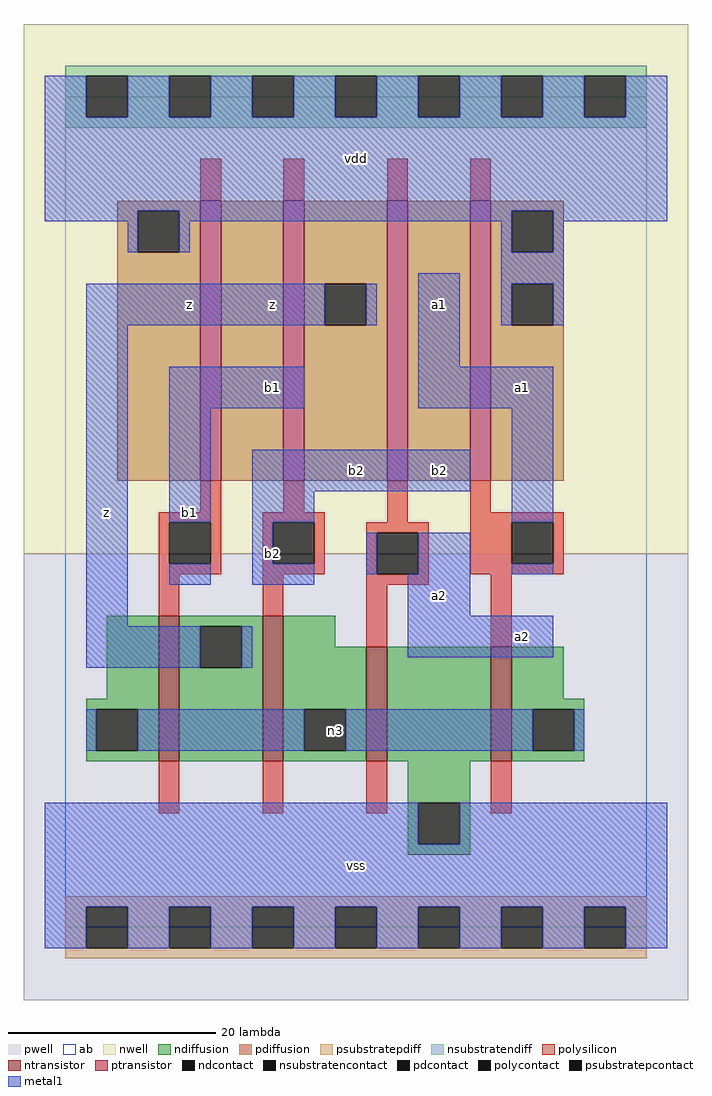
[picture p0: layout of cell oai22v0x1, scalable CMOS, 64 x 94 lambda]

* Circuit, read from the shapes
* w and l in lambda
.subckt oai22v0x1 a1 a2 b1 b2 n3 vdd vss z
M1 z b1 n3 vss nfet w=14 l=2
M2 n3 b2 z vss nfet w=14 l=2
M3 vss a2 n3 vss nfet w=11 l=2
M4 n3 a1 vss vss nfet w=11 l=2
M5 n1 b1 vdd vdd pfet w=27 l=2
M6 z b2 n1 vdd pfet w=27 l=2
M7 n2 a2 z vdd pfet w=27 l=2
M8 vdd a1 n2 vdd pfet w=27 l=2
.ends

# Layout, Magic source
magic
tech scmos
<< ab >>
rect 0 0 56 80
<< pwell >>
rect -4 -7 60 36
<< nwell >>
rect -4 36 60 87
<< polysilicon >>
rect 13 70 15 74
rect 21 70 23 74
rect 31 70 33 74
rect 39 70 41 74
rect 13 40 15 43
rect 21 40 23 43
rect 9 39 15 40
rect 9 35 10 39
rect 14 35 15 39
rect 9 34 15 35
rect 19 39 25 40
rect 31 39 33 43
rect 39 40 41 43
rect 39 39 48 40
rect 19 35 20 39
rect 24 35 25 39
rect 19 34 25 35
rect 29 38 35 39
rect 29 34 30 38
rect 34 34 35 38
rect 39 35 43 39
rect 47 35 48 39
rect 39 34 48 35
rect 9 30 11 34
rect 19 30 21 34
rect 29 33 35 34
rect 29 27 31 33
rect 41 27 43 34
rect 9 11 11 16
rect 19 11 21 16
rect 29 11 31 16
rect 41 11 43 16
<< ndiffusion >>
rect 4 22 9 30
rect 2 21 9 22
rect 2 17 3 21
rect 7 17 9 21
rect 2 16 9 17
rect 11 29 19 30
rect 11 25 13 29
rect 17 25 19 29
rect 11 16 19 25
rect 21 27 26 30
rect 21 21 29 27
rect 21 17 23 21
rect 27 17 29 21
rect 21 16 29 17
rect 31 16 41 27
rect 43 22 48 27
rect 43 21 50 22
rect 43 17 45 21
rect 49 17 50 21
rect 43 16 50 17
rect 33 12 39 16
rect 33 8 34 12
rect 38 8 39 12
rect 33 7 39 8
<< pdiffusion >>
rect 5 69 13 70
rect 5 65 7 69
rect 11 65 13 69
rect 5 43 13 65
rect 15 43 21 70
rect 23 62 31 70
rect 23 58 25 62
rect 29 58 31 62
rect 23 43 31 58
rect 33 43 39 70
rect 41 69 48 70
rect 41 65 43 69
rect 47 65 48 69
rect 41 62 48 65
rect 41 58 43 62
rect 47 58 48 62
rect 41 43 48 58
<< metal1 >>
rect -2 78 2 82
rect 6 78 10 82
rect 14 78 18 82
rect 22 78 26 82
rect 30 78 34 82
rect 38 78 42 82
rect 46 78 50 82
rect 54 78 58 82
rect -2 69 58 78
rect -2 68 7 69
rect 6 65 7 68
rect 11 68 43 69
rect 11 65 12 68
rect 42 65 43 68
rect 47 68 58 69
rect 47 65 48 68
rect 2 58 25 62
rect 29 58 30 62
rect 2 29 6 58
rect 34 54 38 63
rect 42 62 48 65
rect 42 58 43 62
rect 47 58 48 62
rect 10 50 23 54
rect 34 50 47 54
rect 10 39 14 50
rect 10 33 14 35
rect 18 42 39 46
rect 18 39 24 42
rect 18 35 20 39
rect 43 39 47 50
rect 18 33 24 35
rect 29 34 30 38
rect 34 34 39 38
rect 43 34 47 35
rect 33 30 39 34
rect 2 25 13 29
rect 17 25 18 29
rect 33 26 47 30
rect 2 17 3 21
rect 7 17 23 21
rect 27 17 45 21
rect 49 17 50 21
rect -2 8 34 12
rect 38 8 58 12
rect -2 2 58 8
rect -2 -2 2 2
rect 6 -2 10 2
rect 14 -2 18 2
rect 22 -2 26 2
rect 30 -2 34 2
rect 38 -2 42 2
rect 46 -2 50 2
rect 54 -2 58 2
<< ntransistor >>
rect 9 16 11 30
rect 19 16 21 30
rect 29 16 31 27
rect 41 16 43 27
<< ptransistor >>
rect 13 43 15 70
rect 21 43 23 70
rect 31 43 33 70
rect 39 43 41 70
<< polycontact >>
rect 10 35 14 39
rect 20 35 24 39
rect 30 34 34 38
rect 43 35 47 39
<< ndcontact >>
rect 3 17 7 21
rect 13 25 17 29
rect 23 17 27 21
rect 45 17 49 21
rect 34 8 38 12
<< pdcontact >>
rect 7 65 11 69
rect 25 58 29 62
rect 43 65 47 69
rect 43 58 47 62
<< psubstratepcontact >>
rect 2 -2 6 2
rect 10 -2 14 2
rect 18 -2 22 2
rect 26 -2 30 2
rect 34 -2 38 2
rect 42 -2 46 2
rect 50 -2 54 2
<< nsubstratencontact >>
rect 2 78 6 82
rect 10 78 14 82
rect 18 78 22 82
rect 26 78 30 82
rect 34 78 38 82
rect 42 78 46 82
rect 50 78 54 82
<< psubstratepdiff >>
rect 0 2 56 3
rect 0 -2 2 2
rect 6 -2 10 2
rect 14 -2 18 2
rect 22 -2 26 2
rect 30 -2 34 2
rect 38 -2 42 2
rect 46 -2 50 2
rect 54 -2 56 2
rect 0 -3 56 -2
<< nsubstratendiff >>
rect 0 82 56 83
rect 0 78 2 82
rect 6 78 10 82
rect 14 78 18 82
rect 22 78 26 82
rect 30 78 34 82
rect 38 78 42 82
rect 46 78 50 82
rect 54 78 56 82
rect 0 77 56 78
<< labels >>
rlabel metal1 4 40 4 40 6 z
rlabel metal1 12 40 12 40 6 b1
rlabel metal1 12 60 12 60 6 z
rlabel metal1 28 6 28 6 6 vss
rlabel metal1 20 36 20 36 6 b2
rlabel metal1 28 44 28 44 6 b2
rlabel metal1 20 52 20 52 6 b1
rlabel metal1 20 60 20 60 6 z
rlabel metal1 28 74 28 74 6 vdd
rlabel metal1 44 28 44 28 6 a2
rlabel metal1 36 32 36 32 6 a2
rlabel metal1 36 44 36 44 6 b2
rlabel metal1 44 52 44 52 6 a1
rlabel metal1 36 60 36 60 6 a1
rlabel ndcontact 26 19 26 19 6 n3
<< end >>
